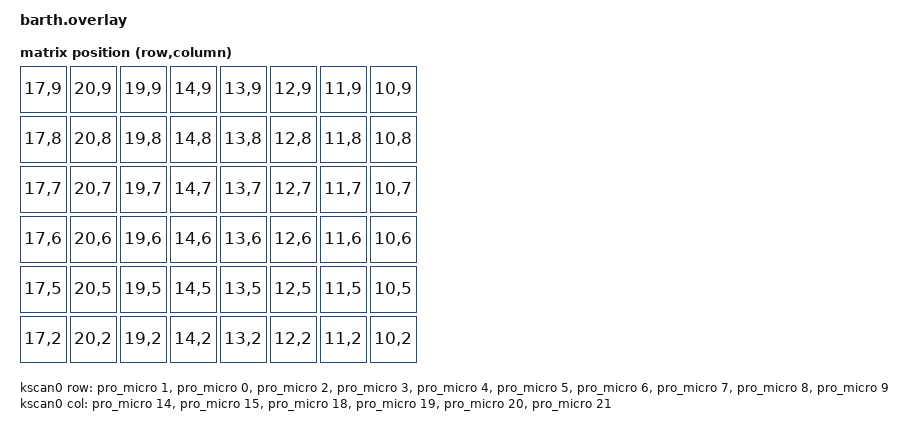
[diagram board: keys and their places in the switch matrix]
#include <dt-bindings/zmk/matrix_transform.h>
#include <dt-bindings/gpio/gpio.h>

/* Redéfinition du RC pour éviter les conflits */
#undef RC
#define RC(row, col) (((row) << 8) | (col))

/ {
    chosen {
        zmk,kscan = &kscan0;
        /* Cette ligne cherchait 'default_transform' plus bas */
        zmk,matrix_transform = &default_transform;
    };

    /* Voici le noeud que le compilateur ne trouvait pas */
    default_transform: matrix_transform {
        compatible = "zmk,matrix-transform";
        /* On met des valeurs larges pour accepter tes index RC(17,9) et RC(20,9) */
        rows = <21>;
        columns = <10>;
        map = <
            RC(17,9) RC(20,9) RC(19,9) RC(14,9) RC(13,9) RC(12,9) RC(11,9) RC(10,9) 
            RC(17,8) RC(20,8) RC(19,8) RC(14,8) RC(13,8) RC(12,8) RC(11,8) RC(10,8)
            RC(17,7) RC(20,7) RC(19,7) RC(14,7) RC(13,7) RC(12,7) RC(11,7) RC(10,7)
            
            RC(17,6) RC(20,6) RC(19,6) RC(14,6) RC(13,6) RC(12,6) RC(11,6) RC(10,6)
            RC(17,5) RC(20,5) RC(19,5) RC(14,5) RC(13,5) RC(12,5) RC(11,5) RC(10,5)
            RC(17,2) RC(20,2) RC(19,2) RC(14,2) RC(13,2) RC(12,2) RC(11,2) RC(10,2)
        >;
    };

    kscan0: kscan_node {
        compatible = "zmk,kscan-gpio-matrix";
        /* On reste en col2row pour l'instant, change en row2col si rien ne marche */
        diode-direction = "col2row"; 
        
        /* Attention : tes listes de GPIO ci-dessous doivent être assez longues 
           pour que l'index 20 (rows) et 9 (cols) existent ! */
        row-gpios
            = <&pro_micro 1 (GPIO_ACTIVE_HIGH | GPIO_PULL_DOWN)>
            , <&pro_micro 0 (GPIO_ACTIVE_HIGH | GPIO_PULL_DOWN)>
            , <&pro_micro 2 (GPIO_ACTIVE_HIGH | GPIO_PULL_DOWN)>
            , <&pro_micro 3 (GPIO_ACTIVE_HIGH | GPIO_PULL_DOWN)>
            , <&pro_micro 4 (GPIO_ACTIVE_HIGH | GPIO_PULL_DOWN)>
            , <&pro_micro 5 (GPIO_ACTIVE_HIGH | GPIO_PULL_DOWN)>
            , <&pro_micro 6 (GPIO_ACTIVE_HIGH | GPIO_PULL_DOWN)>
            , <&pro_micro 7 (GPIO_ACTIVE_HIGH | GPIO_PULL_DOWN)>
            , <&pro_micro 8 (GPIO_ACTIVE_HIGH | GPIO_PULL_DOWN)>
            , <&pro_micro 9 (GPIO_ACTIVE_HIGH | GPIO_PULL_DOWN)>
            /* ... Ajoute des pins ici si tes index RC dépassent le nombre de pins listées */
            ;

        col-gpios
            = <&pro_micro 14 GPIO_ACTIVE_HIGH>
            , <&pro_micro 15 GPIO_ACTIVE_HIGH>
            , <&pro_micro 18 GPIO_ACTIVE_HIGH>
            , <&pro_micro 19 GPIO_ACTIVE_HIGH>
            , <&pro_micro 20 GPIO_ACTIVE_HIGH>
            , <&pro_micro 21 GPIO_ACTIVE_HIGH>
            ;
    };
};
